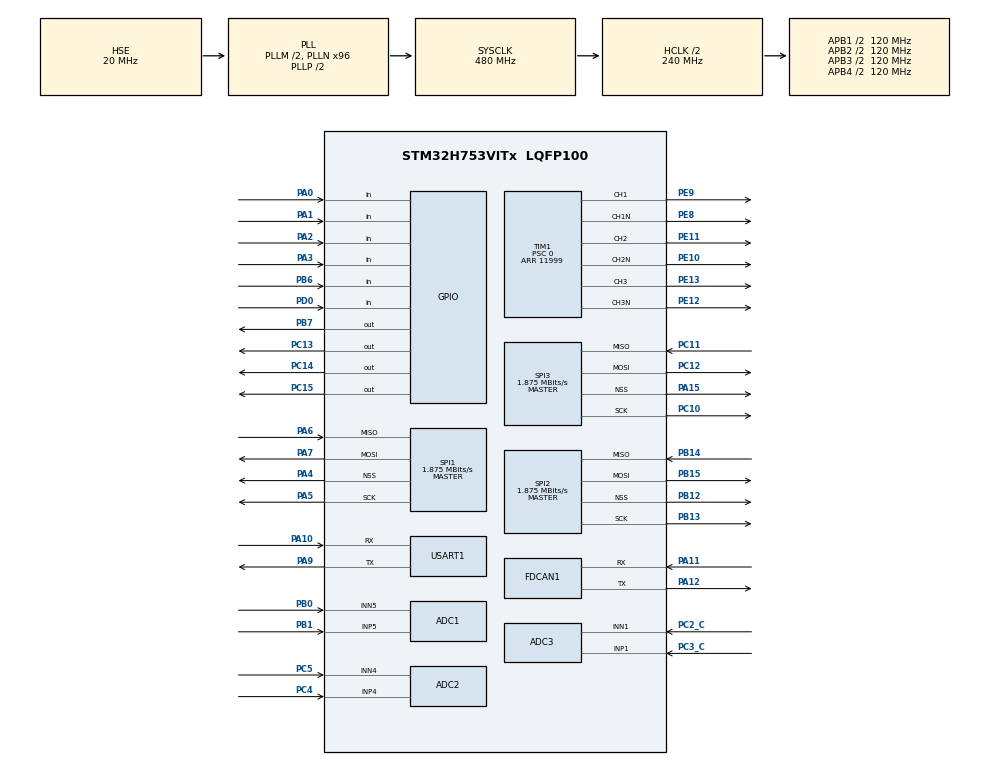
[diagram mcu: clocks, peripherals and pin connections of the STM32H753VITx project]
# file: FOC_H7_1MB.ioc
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ADC1.Channel-6\#ChannelRegularConversion=ADC_CHANNEL_5
ADC1.NbrOfConversionFlag=1
ADC1.OffsetNumber-6\#ChannelRegularConversion=ADC_OFFSET_NONE
ADC1.Rank-6\#ChannelRegularConversion=1
ADC1.SamplingTime-6\#ChannelRegularConversion=ADC_SAMPLETIME_2CYCLES_5
ADC1.SingleDiff-6\#ChannelRegularConversion=ADC_DIFFERENTIAL_ENDED
ADC1.master=1
ADC2.Channel-0\#ChannelRegularConversion=ADC_CHANNEL_4
ADC2.NbrOfConversionFlag=1
ADC2.OffsetNumber-0\#ChannelRegularConversion=ADC_OFFSET_NONE
ADC2.Rank-0\#ChannelRegularConversion=1
ADC2.SamplingTime-0\#ChannelRegularConversion=ADC_SAMPLETIME_1CYCLE_5
ADC2.SingleDiff-0\#ChannelRegularConversion=ADC_DIFFERENTIAL_ENDED
ADC3.Channel-2\#ChannelRegularConversion=ADC_CHANNEL_1
ADC3.NbrOfConversionFlag=1
ADC3.OffsetNumber-2\#ChannelRegularConversion=ADC_OFFSET_NONE
ADC3.Rank-2\#ChannelRegularConversion=1
ADC3.SamplingTime-2\#ChannelRegularConversion=ADC_SAMPLETIME_2CYCLES_5
ADC3.SingleDiff-2\#ChannelRegularConversion=ADC_DIFFERENTIAL_ENDED
Mcu.Family=STM32H7
Mcu.Name=STM32H753VITx
Mcu.Package=LQFP100
NVIC.PriorityGroup=NVIC_PRIORITYGROUP_4
NVIC.SPI1_IRQn=true\:0\:0\:false\:false\:true\:true\:true
NVIC.SPI2_IRQn=true\:0\:0\:false\:false\:true\:true\:true
NVIC.SPI3_IRQn=true\:0\:0\:false\:false\:true\:true\:true
NVIC.TIM2_IRQn=true\:0\:0\:false\:false\:true\:true\:true
NVIC.TIM3_IRQn=true\:0\:0\:false\:false\:true\:true\:true
PA0.Signal=GPIO_Input
PA1.Signal=GPIO_Input
PA10.Mode=Asynchronous
PA10.Signal=USART1_RX
PA11.Mode=FDCANMaster
PA11.Signal=FDCAN1_RX
PA12.Mode=FDCANMaster
PA12.Signal=FDCAN1_TX
PA13\ (JTMS/SWDIO).Mode=Serial_Wire
PA13\ (JTMS/SWDIO).Signal=DEBUG_JTMS-SWDIO
PA14\ (JTCK/SWCLK).Mode=Serial_Wire
PA14\ (JTCK/SWCLK).Signal=DEBUG_JTCK-SWCLK
PA15\ (JTDI).Mode=NSS_Signal_Hard_Output
PA15\ (JTDI).Signal=SPI3_NSS
PA2.Signal=GPIO_Input
PA3.Signal=GPIO_Input
PA4.Mode=NSS_Signal_Hard_Output
PA4.Signal=SPI1_NSS
PA5.Mode=Full_Duplex_Master
PA5.Signal=SPI1_SCK
PA6.Mode=Full_Duplex_Master
PA6.Signal=SPI1_MISO
PA7.Mode=Full_Duplex_Master
PA7.Signal=SPI1_MOSI
PA9.Mode=Asynchronous
PA9.Signal=USART1_TX
PB0.Signal=ADCx_INN5
PB1.Signal=ADCx_INP5
PB12.Mode=NSS_Signal_Hard_Output
PB12.Signal=SPI2_NSS
PB13.Mode=Full_Duplex_Master
PB13.Signal=SPI2_SCK
PB14.GPIO_PuPd=GPIO_PULLUP
PB14.Mode=Full_Duplex_Master
PB14.Signal=SPI2_MISO
PB15.Mode=Full_Duplex_Master
PB15.Signal=SPI2_MOSI
PB6.GPIO_PuPd=GPIO_PULLUP
PB6.Signal=GPIO_Input
PB7.Signal=GPIO_Output
PC10.Mode=Full_Duplex_Master
PC10.Signal=SPI3_SCK
PC11.Mode=Full_Duplex_Master
PC11.Signal=SPI3_MISO
PC12.Mode=Full_Duplex_Master
PC12.Signal=SPI3_MOSI
PC13.Signal=GPIO_Output
PC14-OSC32_IN\ (OSC32_IN).Signal=GPIO_Output
PC15-OSC32_OUT\ (OSC32_OUT).Signal=GPIO_Output
PC2_C.Mode=IN1-Differential
PC2_C.Signal=ADC3_INN1
PC3_C.Mode=IN1-Differential
PC3_C.Signal=ADC3_INP1
PC4.Signal=ADCx_INP4
PC5.Signal=ADCx_INN4
PD0.Signal=GPIO_Input
PE10.Mode=PWM Generation2 CH2 CH2N
PE10.Signal=TIM1_CH2N
PE11.Signal=S_TIM1_CH2
PE12.Mode=PWM Generation3 CH3 CH3N
PE12.Signal=TIM1_CH3N
PE13.Signal=S_TIM1_CH3
PE8.Mode=PWM Generation1 CH1 CH1N
PE8.Signal=TIM1_CH1N
PE9.Signal=S_TIM1_CH1
PH0-OSC_IN\ (PH0).Mode=HSE-External-Oscillator
PH0-OSC_IN\ (PH0).Signal=RCC_OSC_IN
PH1-OSC_OUT\ (PH1).Mode=HSE-External-Oscillator
PH1-OSC_OUT\ (PH1).Signal=RCC_OSC_OUT
ProjectManager.HeapSize=0x200
ProjectManager.StackSize=0x400
ProjectManager.TargetToolchain=STM32CubeIDE
RCC.ADCFreq_Value=150000000
RCC.APB1Freq_Value=120000000
RCC.APB2Freq_Value=120000000
RCC.APB3Freq_Value=120000000
RCC.APB4Freq_Value=120000000
RCC.CortexFreq_Value=480000000
RCC.D1PPRE=RCC_APB3_DIV2
RCC.D2PPRE1=RCC_APB1_DIV2
RCC.D2PPRE2=RCC_APB2_DIV2
RCC.D3PPRE=RCC_APB4_DIV2
RCC.DIVM1=2
RCC.DIVM2=2
RCC.DIVN1=96
RCC.DIVN2=15
RCC.DIVP2=1
RCC.FLatency=FLASH_LATENCY_4
RCC.HCLKFreq_Value=240000000
RCC.HPRE=RCC_HCLK_DIV2
RCC.HSE_VALUE=20000000
RCC.PLL2FRACN=0
RCC.PLL2_VCO_SEL-AdvancedSettings=RCC_PLL2VCOMEDIUM
RCC.PLL3FRACN=0
RCC.PLLFRACN=0
RCC.PLLSourceVirtual=RCC_PLLSOURCE_HSE
RCC.PWR_Regulator_Voltage_Scale=PWR_REGULATOR_VOLTAGE_SCALE0
RCC.SYSCLKFreq_VALUE=480000000
RCC.SYSCLKSource=RCC_SYSCLKSOURCE_PLLCLK
RCC.USBFreq_Value=480000000
SH.ADCx_INN4.0=ADC2_INN4,IN4-Differential
SH.ADCx_INN5.0=ADC1_INN5,IN5-Differential
SH.ADCx_INP4.0=ADC2_INP4,IN4-Differential
SH.ADCx_INP5.0=ADC1_INP5,IN5-Differential
SH.S_TIM1_CH1.0=TIM1_CH1,PWM Generation1 CH1 CH1N
SH.S_TIM1_CH2.0=TIM1_CH2,PWM Generation2 CH2 CH2N
SH.S_TIM1_CH3.0=TIM1_CH3,PWM Generation3 CH3 CH3N
SPI1.BaudRatePrescaler=SPI_BAUDRATEPRESCALER_256
SPI1.CLKPhase=SPI_PHASE_1EDGE
SPI1.CalculateBaudRate=1.875 MBits/s
SPI1.DataSize=SPI_DATASIZE_16BIT
SPI1.Direction=SPI_DIRECTION_2LINES
SPI1.Mode=SPI_MODE_MASTER
SPI1.NSSPMode=SPI_NSS_PULSE_DISABLE
SPI1.VirtualNSS=VM_NSSHARD
SPI1.VirtualType=VM_MASTER
SPI2.BaudRatePrescaler=SPI_BAUDRATEPRESCALER_256
SPI2.CLKPhase=SPI_PHASE_2EDGE
SPI2.CalculateBaudRate=1.875 MBits/s
SPI2.DataSize=SPI_DATASIZE_16BIT
SPI2.Direction=SPI_DIRECTION_2LINES
SPI2.MasterKeepIOState=SPI_MASTER_KEEP_IO_STATE_DISABLE
SPI2.Mode=SPI_MODE_MASTER
SPI2.NSSPMode=SPI_NSS_PULSE_DISABLE
SPI2.NSSPolarity=SPI_NSS_POLARITY_LOW
SPI2.VirtualNSS=VM_NSSHARD
SPI2.VirtualType=VM_MASTER
SPI3.BaudRatePrescaler=SPI_BAUDRATEPRESCALER_256
SPI3.CLKPhase=SPI_PHASE_1EDGE
SPI3.CalculateBaudRate=1.875 MBits/s
SPI3.DataSize=SPI_DATASIZE_16BIT
SPI3.Direction=SPI_DIRECTION_2LINES
SPI3.MasterKeepIOState=SPI_MASTER_KEEP_IO_STATE_DISABLE
SPI3.Mode=SPI_MODE_MASTER
SPI3.NSSPMode=SPI_NSS_PULSE_DISABLE
SPI3.VirtualNSS=VM_NSSHARD
SPI3.VirtualType=VM_MASTER
TIM1.Channel-PWM\ Generation1\ CH1\ CH1N=TIM_CHANNEL_1
TIM1.Channel-PWM\ Generation2\ CH2\ CH2N=TIM_CHANNEL_2
TIM1.Channel-PWM\ Generation3\ CH3\ CH3N=TIM_CHANNEL_3
TIM1.DeadTime=80
TIM1.Period=11999
TIM1.Prescaler=0
TIM2.Period=500000
TIM2.Prescaler=240
TIM3.Period=11999
USART1.VirtualMode-Asynchronous=VM_ASYNC
VP_TIM1_VS_ClockSourceINT.Mode=Internal
VP_TIM2_VS_ClockSourceINT.Mode=Internal
VP_TIM3_VS_ClockSourceINT.Mode=Internal
board=custom

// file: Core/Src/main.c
/* USER CODE BEGIN Header */
/**
 ******************************************************************************
 * @file           : main.c
 * @brief          : Main program body
 ******************************************************************************
 * @attention
 *
 * <h2><center>&copy; Copyright (c) 2020 STMicroelectronics.
 * All rights reserved.</center></h2>
 *
 * This software component is licensed by ST under BSD 3-Clause license,
 * the "License"; You may not use this file except in compliance with the
 * License. You may obtain a copy of the License at:
 *                        opensource.org/licenses/BSD-3-Clause
 *
 ******************************************************************************
 */
/* USER CODE END Header */

#include "main.h"

/* USER CODE BEGIN Includes */
#include <stdlib.h>
#include "FOC.h"
#include "PI_Loop.h"
/* USER CODE END Includes */

/* USER CODE BEGIN PM */
int set_pmw(int a, int b, int c);
int mech_to_electric_angle(int mechangle);
/* USER CODE END PM */

ADC_HandleTypeDef hadc1;
ADC_HandleTypeDef hadc2;
ADC_HandleTypeDef hadc3;

FDCAN_HandleTypeDef hfdcan1;

SPI_HandleTypeDef hspi1;
SPI_HandleTypeDef hspi2;
SPI_HandleTypeDef hspi3;

TIM_HandleTypeDef htim1;
TIM_HandleTypeDef htim2;
TIM_HandleTypeDef htim3;

UART_HandleTypeDef huart1;

/* USER CODE BEGIN PV */
#define RMP_SCALAR 166.666
#define RAW_TO_VOLTAGE_SCALAR 0.000375
#define VOLTAGE_READING_OFFSET 12.288
#define VOLTAGE_TO_CURRENT 75.7575*1000 //in milliamps
#define CURRENT_READING_VOLTAGE_OFFSET 1.635 //theory 1.6415
volatile int position = 0;
volatile int wait = 0;
/* USER CODE END PV */

void SystemClock_Config(void);
static void MX_GPIO_Init(void);
static void MX_ADC1_Init(void);
static void MX_ADC2_Init(void);
static void MX_ADC3_Init(void);
static void MX_FDCAN1_Init(void);
static void MX_SPI1_Init(void);
static void MX_SPI2_Init(void);
static void MX_SPI3_Init(void);
static void MX_TIM1_Init(void);
static void MX_TIM2_Init(void);
static void MX_USART1_UART_Init(void);
static void MX_TIM3_Init(void);

int main(void)
{

  /* MCU Configuration--------------------------------------------------------*/

  /* Reset of all peripherals, Initializes the Flash interface and the Systick. */
  HAL_Init();

  /* USER CODE BEGIN Init */
	int request_pos = 0xffff;
	float data2angle = 360.0 / 1024;
	float angle = 0;
	int currentA;
	int currentC;
	int currentB;
	float Id;
	float Iq;
	float target_Iq = 15;
	float target_Id = 0;
	int Vd;
	int Vq;
	int foc_angle;
	int uart_counter = 0;
	int Va, Vb, Vc;
	int deciangle = 0;
	float last_angle = 0;
	float running_angle_total = 0;
	float change_in_angle = 0;
	float curr_speed = 0;
	float target_speed = 100;
	uint32_t last_speed_cal_time = 0;
	int speed_counter = 0;
	int nop = 0;
	float change_in_angle_list[500]={0};
	uint16_t raw_curr_data_a=0;
	uint16_t raw_curr_data_c=0;
  /* USER CODE END Init */

  /* Configure the system clock */
  SystemClock_Config();

  /* Initialize all configured peripherals */
  MX_GPIO_Init();
  MX_ADC1_Init();
  MX_ADC2_Init();
  MX_ADC3_Init();
  MX_FDCAN1_Init();
  MX_SPI1_Init();
  MX_SPI2_Init();
  MX_SPI3_Init();
  MX_TIM1_Init();
  MX_TIM2_Init();
  MX_USART1_UART_Init();
  MX_TIM3_Init();
  /* USER CODE BEGIN 2 */
	HAL_TIM_PWM_Start(&htim1, TIM_CHANNEL_1);
	HAL_TIMEx_PWMN_Start(&htim1, TIM_CHANNEL_1);
	HAL_TIM_PWM_Start(&htim1, TIM_CHANNEL_2);
	HAL_TIMEx_PWMN_Start(&htim1, TIM_CHANNEL_2);
	HAL_TIM_PWM_Start(&htim1, TIM_CHANNEL_3);
	HAL_TIMEx_PWMN_Start(&htim1, TIM_CHANNEL_3);
	HAL_ADC_Start(&hadc1);
	HAL_ADC_Start(&hadc2);
	HAL_TIM_Base_Start_IT(&htim2);
	HAL_TIM_Base_Start_IT(&htim3);
	//prime sensors
	HAL_Delay(100);
	for(int primer_counter=0;primer_counter<5;primer_counter++){
	HAL_SPI_TransmitReceive_IT(&hspi2, (uint8_t*) &request_pos,&position, 1);
			HAL_SPI_TransmitReceive_IT(&hspi1, (uint8_t*) &nop,
					(uint8_t*) &raw_curr_data_a, 1);
			HAL_SPI_TransmitReceive_IT(&hspi3, (uint8_t*) &nop,
					(uint8_t*) &raw_curr_data_c, 1);
	}
	HAL_Delay(100);
  /* USER CODE END 2 */

  /* Infinite loop */
  /* USER CODE BEGIN WHILE */
	while (1) {
		//find angle
		while (wait) {
			//wait for next pwm cycle to start
		}
		wait = 1;
		position = position >> 2;
		position = position & 0x3ff;
		angle = (position * data2angle);
		deciangle = angle * 10;
		//find currents, this section could be optimized more but it will remove readability
		float voltage_a = RAW_TO_VOLTAGE_SCALAR * raw_curr_data_a-VOLTAGE_READING_OFFSET;
		float voltage_c = RAW_TO_VOLTAGE_SCALAR	* raw_curr_data_c-VOLTAGE_READING_OFFSET;
		currentA = (voltage_a - CURRENT_READING_VOLTAGE_OFFSET)
				* VOLTAGE_TO_CURRENT;
		currentC = (voltage_c - CURRENT_READING_VOLTAGE_OFFSET)
				* VOLTAGE_TO_CURRENT;
		currentC=-currentC;//phase C current sense is backwards for layout purposes
		currentB = 0 - currentA - currentC;
		//request data for next loop
		HAL_SPI_TransmitReceive_IT(&hspi2, (uint8_t*) &request_pos,&position, 1);
		HAL_SPI_TransmitReceive_IT(&hspi1, (uint8_t*) &nop,
				(uint8_t*) &raw_curr_data_a, 1);
		HAL_SPI_TransmitReceive_IT(&hspi3, (uint8_t*) &nop,
				(uint8_t*) &raw_curr_data_c, 1);
		//transform encoder angle to eletrical angle
		foc_angle = mech_to_electric_angle((int)angle);
		//Cal speed with 500 wide boxcar avg
		change_in_angle = angle - last_angle;
		if (change_in_angle < -180) {
			change_in_angle = -360 - change_in_angle;
		}
		if (change_in_angle > 180) {
			change_in_angle = 360.0 - change_in_angle;
		}
		running_angle_total = running_angle_total + change_in_angle-change_in_angle_list[speed_counter];
		curr_speed = running_angle_total * RMP_SCALAR *0.025;
		change_in_angle_list[speed_counter]=change_in_angle;
		last_angle = angle;
		uart_counter++;
		speed_counter++;
		if (speed_counter > 500) {//running average of 500 samples
			speed_counter = 0;
		}
		//FOC and PI loop update
		parkclark(currentA, currentB, currentC, foc_angle, &Iq, &Id);
		update_speed_pi(&target_speed, &curr_speed, &target_Iq);
		update_foc_pi(&target_Iq, &target_Id, &Iq, &Id, &Vq, &Vd);
		if (uart_counter > 200000) {
			uart_counter = 0;
		}
		//Cal PWMs
		inv_parkclark(&Va, &Vb, &Vc, foc_angle, Vq, Vd);
		if (Va <= Vb && Va <= Vc) {
			Vb = Vb - Va;
			Vc = Vc - Va;
			Va = 0;
		} else if (Vb <= Va && Vb <= Vc) {
			Va = Va - Vb;
			Vc = Vc - Vb;
			Vb = 0;
		} else if (Vc <= Vb && Vc <= Va) {
			Va = Va - Vc;
			Vb = Vb - Vc;
			Vc = 0;
		}
		//Impose PWMs
		set_pmw(Va, Vb, Vc);
    /* USER CODE END WHILE */

	}
}

void SystemClock_Config(void)
{
  RCC_OscInitTypeDef RCC_OscInitStruct = {0};
  RCC_ClkInitTypeDef RCC_ClkInitStruct = {0};
  RCC_PeriphCLKInitTypeDef PeriphClkInitStruct = {0};

  /** Supply configuration update enable
  */
  HAL_PWREx_ConfigSupply(PWR_LDO_SUPPLY);
  /** Configure the main internal regulator output voltage
  */
  __HAL_PWR_VOLTAGESCALING_CONFIG(PWR_REGULATOR_VOLTAGE_SCALE0);

  while(!__HAL_PWR_GET_FLAG(PWR_FLAG_VOSRDY)) {}
  /** Macro to configure the PLL clock source
  */
  __HAL_RCC_PLL_PLLSOURCE_CONFIG(RCC_PLLSOURCE_HSE);
  /** Initializes the CPU, AHB and APB busses clocks
  */
  RCC_OscInitStruct.OscillatorType = RCC_OSCILLATORTYPE_HSE;
  RCC_OscInitStruct.HSEState = RCC_HSE_ON;
  RCC_OscInitStruct.PLL.PLLState = RCC_PLL_ON;
  RCC_OscInitStruct.PLL.PLLSource = RCC_PLLSOURCE_HSE;
  RCC_OscInitStruct.PLL.PLLM = 2;
  RCC_OscInitStruct.PLL.PLLN = 96;
  RCC_OscInitStruct.PLL.PLLP = 2;
  RCC_OscInitStruct.PLL.PLLQ = 2;
  RCC_OscInitStruct.PLL.PLLR = 2;
  RCC_OscInitStruct.PLL.PLLRGE = RCC_PLL1VCIRANGE_3;
  RCC_OscInitStruct.PLL.PLLVCOSEL = RCC_PLL1VCOWIDE;
  RCC_OscInitStruct.PLL.PLLFRACN = 0;
  if (HAL_RCC_OscConfig(&RCC_OscInitStruct) != HAL_OK)
  {
    Error_Handler();
  }
  /** Initializes the CPU, AHB and APB busses clocks
  */
  RCC_ClkInitStruct.ClockType = RCC_CLOCKTYPE_HCLK|RCC_CLOCKTYPE_SYSCLK
                              |RCC_CLOCKTYPE_PCLK1|RCC_CLOCKTYPE_PCLK2
                              |RCC_CLOCKTYPE_D3PCLK1|RCC_CLOCKTYPE_D1PCLK1;
  RCC_ClkInitStruct.SYSCLKSource = RCC_SYSCLKSOURCE_PLLCLK;
  RCC_ClkInitStruct.SYSCLKDivider = RCC_SYSCLK_DIV1;
  RCC_ClkInitStruct.AHBCLKDivider = RCC_HCLK_DIV2;
  RCC_ClkInitStruct.APB3CLKDivider = RCC_APB3_DIV2;
  RCC_ClkInitStruct.APB1CLKDivider = RCC_APB1_DIV2;
  RCC_ClkInitStruct.APB2CLKDivider = RCC_APB2_DIV2;
  RCC_ClkInitStruct.APB4CLKDivider = RCC_APB4_DIV2;

  if (HAL_RCC_ClockConfig(&RCC_ClkInitStruct, FLASH_LATENCY_4) != HAL_OK)
  {
    Error_Handler();
  }
  PeriphClkInitStruct.PeriphClockSelection = RCC_PERIPHCLK_FDCAN|RCC_PERIPHCLK_USART1
                              |RCC_PERIPHCLK_SPI3|RCC_PERIPHCLK_SPI1
                              |RCC_PERIPHCLK_SPI2|RCC_PERIPHCLK_ADC;
  PeriphClkInitStruct.PLL2.PLL2M = 2;
  PeriphClkInitStruct.PLL2.PLL2N = 15;
  PeriphClkInitStruct.PLL2.PLL2P = 1;
  PeriphClkInitStruct.PLL2.PLL2Q = 2;
  PeriphClkInitStruct.PLL2.PLL2R = 2;
  PeriphClkInitStruct.PLL2.PLL2RGE = RCC_PLL2VCIRANGE_3;
  PeriphClkInitStruct.PLL2.PLL2VCOSEL = RCC_PLL2VCOMEDIUM;
  PeriphClkInitStruct.PLL2.PLL2FRACN = 0;
  PeriphClkInitStruct.Spi123ClockSelection = RCC_SPI123CLKSOURCE_PLL;
  PeriphClkInitStruct.FdcanClockSelection = RCC_FDCANCLKSOURCE_PLL;
  PeriphClkInitStruct.Usart16ClockSelection = RCC_USART16CLKSOURCE_D2PCLK2;
  PeriphClkInitStruct.AdcClockSelection = RCC_ADCCLKSOURCE_PLL2;
  if (HAL_RCCEx_PeriphCLKConfig(&PeriphClkInitStruct) != HAL_OK)
  {
    Error_Handler();
  }
}

static void MX_ADC1_Init(void)
{

  ADC_MultiModeTypeDef multimode = {0};
  ADC_ChannelConfTypeDef sConfig = {0};

  /** Common config
  */
  hadc1.Instance = ADC1;
  hadc1.Init.ClockPrescaler = ADC_CLOCK_ASYNC_DIV1;
  hadc1.Init.Resolution = ADC_RESOLUTION_16B;
  hadc1.Init.ScanConvMode = ADC_SCAN_DISABLE;
  hadc1.Init.EOCSelection = ADC_EOC_SINGLE_CONV;
  hadc1.Init.LowPowerAutoWait = DISABLE;
  hadc1.Init.ContinuousConvMode = DISABLE;
  hadc1.Init.NbrOfConversion = 1;
  hadc1.Init.DiscontinuousConvMode = DISABLE;
  hadc1.Init.ExternalTrigConv = ADC_SOFTWARE_START;
  hadc1.Init.ExternalTrigConvEdge = ADC_EXTERNALTRIGCONVEDGE_NONE;
  hadc1.Init.ConversionDataManagement = ADC_CONVERSIONDATA_DR;
  hadc1.Init.Overrun = ADC_OVR_DATA_PRESERVED;
  hadc1.Init.LeftBitShift = ADC_LEFTBITSHIFT_NONE;
  hadc1.Init.OversamplingMode = DISABLE;
  if (HAL_ADC_Init(&hadc1) != HAL_OK)
  {
    Error_Handler();
  }
  /** Configure the ADC multi-mode
  */
  multimode.Mode = ADC_MODE_INDEPENDENT;
  if (HAL_ADCEx_MultiModeConfigChannel(&hadc1, &multimode) != HAL_OK)
  {
    Error_Handler();
  }
  /** Configure Regular Channel
  */
  sConfig.Channel = ADC_CHANNEL_5;
  sConfig.Rank = ADC_REGULAR_RANK_1;
  sConfig.SamplingTime = ADC_SAMPLETIME_2CYCLES_5;
  sConfig.SingleDiff = ADC_DIFFERENTIAL_ENDED;
  sConfig.OffsetNumber = ADC_OFFSET_NONE;
  sConfig.Offset = 0;
  if (HAL_ADC_ConfigChannel(&hadc1, &sConfig) != HAL_OK)
  {
    Error_Handler();
  }

}

static void MX_ADC2_Init(void)
{

  ADC_ChannelConfTypeDef sConfig = {0};

  /** Common config
  */
  hadc2.Instance = ADC2;
  hadc2.Init.ClockPrescaler = ADC_CLOCK_ASYNC_DIV1;
  hadc2.Init.Resolution = ADC_RESOLUTION_16B;
  hadc2.Init.ScanConvMode = ADC_SCAN_DISABLE;
  hadc2.Init.EOCSelection = ADC_EOC_SINGLE_CONV;
  hadc2.Init.LowPowerAutoWait = DISABLE;
  hadc2.Init.ContinuousConvMode = DISABLE;
  hadc2.Init.NbrOfConversion = 1;
  hadc2.Init.DiscontinuousConvMode = DISABLE;
  hadc2.Init.ExternalTrigConv = ADC_SOFTWARE_START;
  hadc2.Init.ExternalTrigConvEdge = ADC_EXTERNALTRIGCONVEDGE_NONE;
  hadc2.Init.ConversionDataManagement = ADC_CONVERSIONDATA_DR;
  hadc2.Init.Overrun = ADC_OVR_DATA_PRESERVED;
  hadc2.Init.LeftBitShift = ADC_LEFTBITSHIFT_NONE;
  hadc2.Init.OversamplingMode = DISABLE;
  if (HAL_ADC_Init(&hadc2) != HAL_OK)
  {
    Error_Handler();
  }
  /** Configure Regular Channel
  */
  sConfig.Channel = ADC_CHANNEL_4;
  sConfig.Rank = ADC_REGULAR_RANK_1;
  sConfig.SamplingTime = ADC_SAMPLETIME_1CYCLE_5;
  sConfig.SingleDiff = ADC_DIFFERENTIAL_ENDED;
  sConfig.OffsetNumber = ADC_OFFSET_NONE;
  sConfig.Offset = 0;
  if (HAL_ADC_ConfigChannel(&hadc2, &sConfig) != HAL_OK)
  {
    Error_Handler();
  }

}

static void MX_ADC3_Init(void)
{

  ADC_ChannelConfTypeDef sConfig = {0};

  /** Common config
  */
  hadc3.Instance = ADC3;
  hadc3.Init.ClockPrescaler = ADC_CLOCK_ASYNC_DIV1;
  hadc3.Init.Resolution = ADC_RESOLUTION_16B;
  hadc3.Init.ScanConvMode = ADC_SCAN_DISABLE;
  hadc3.Init.EOCSelection = ADC_EOC_SINGLE_CONV;
  hadc3.Init.LowPowerAutoWait = DISABLE;
  hadc3.Init.ContinuousConvMode = DISABLE;
  hadc3.Init.NbrOfConversion = 1;
  hadc3.Init.DiscontinuousConvMode = DISABLE;
  hadc3.Init.ExternalTrigConv = ADC_SOFTWARE_START;
  hadc3.Init.ExternalTrigConvEdge = ADC_EXTERNALTRIGCONVEDGE_NONE;
  hadc3.Init.ConversionDataManagement = ADC_CONVERSIONDATA_DR;
  hadc3.Init.Overrun = ADC_OVR_DATA_PRESERVED;
  hadc3.Init.LeftBitShift = ADC_LEFTBITSHIFT_NONE;
  hadc3.Init.OversamplingMode = DISABLE;
  if (HAL_ADC_Init(&hadc3) != HAL_OK)
  {
    Error_Handler();
  }
  /** Configure Regular Channel
  */
  sConfig.Channel = ADC_CHANNEL_1;
  sConfig.Rank = ADC_REGULAR_RANK_1;
  sConfig.SamplingTime = ADC_SAMPLETIME_2CYCLES_5;
  sConfig.SingleDiff = ADC_DIFFERENTIAL_ENDED;
  sConfig.OffsetNumber = ADC_OFFSET_NONE;
  sConfig.Offset = 0;
  if (HAL_ADC_ConfigChannel(&hadc3, &sConfig) != HAL_OK)
  {
    Error_Handler();
  }

}

static void MX_FDCAN1_Init(void)
{

  hfdcan1.Instance = FDCAN1;
  hfdcan1.Init.FrameFormat = FDCAN_FRAME_CLASSIC;
  hfdcan1.Init.Mode = FDCAN_MODE_NORMAL;
  hfdcan1.Init.AutoRetransmission = DISABLE;
  hfdcan1.Init.TransmitPause = DISABLE;
  hfdcan1.Init.ProtocolException = DISABLE;
  hfdcan1.Init.NominalPrescaler = 1;
  hfdcan1.Init.NominalSyncJumpWidth = 1;
  hfdcan1.Init.NominalTimeSeg1 = 2;
  hfdcan1.Init.NominalTimeSeg2 = 2;
  hfdcan1.Init.DataPrescaler = 1;
  hfdcan1.Init.DataSyncJumpWidth = 1;
  hfdcan1.Init.DataTimeSeg1 = 1;
  hfdcan1.Init.DataTimeSeg2 = 1;
  hfdcan1.Init.MessageRAMOffset = 0;
  hfdcan1.Init.StdFiltersNbr = 0;
  hfdcan1.Init.ExtFiltersNbr = 0;
  hfdcan1.Init.RxFifo0ElmtsNbr = 0;
  hfdcan1.Init.RxFifo0ElmtSize = FDCAN_DATA_BYTES_8;
  hfdcan1.Init.RxFifo1ElmtsNbr = 0;
  hfdcan1.Init.RxFifo1ElmtSize = FDCAN_DATA_BYTES_8;
  hfdcan1.Init.RxBuffersNbr = 0;
  hfdcan1.Init.RxBufferSize = FDCAN_DATA_BYTES_8;
  hfdcan1.Init.TxEventsNbr = 0;
  hfdcan1.Init.TxBuffersNbr = 0;
  hfdcan1.Init.TxFifoQueueElmtsNbr = 0;
  hfdcan1.Init.TxFifoQueueMode = FDCAN_TX_FIFO_OPERATION;
  hfdcan1.Init.TxElmtSize = FDCAN_DATA_BYTES_8;
  if (HAL_FDCAN_Init(&hfdcan1) != HAL_OK)
  {
    Error_Handler();
  }

}

static void MX_SPI1_Init(void)
{

  /* SPI1 parameter configuration*/
  hspi1.Instance = SPI1;
  hspi1.Init.Mode = SPI_MODE_MASTER;
  hspi1.Init.Direction = SPI_DIRECTION_2LINES;
  hspi1.Init.DataSize = SPI_DATASIZE_16BIT;
  hspi1.Init.CLKPolarity = SPI_POLARITY_LOW;
  hspi1.Init.CLKPhase = SPI_PHASE_1EDGE;
  hspi1.Init.NSS = SPI_NSS_HARD_OUTPUT;
  hspi1.Init.BaudRatePrescaler = SPI_BAUDRATEPRESCALER_256;
  hspi1.Init.FirstBit = SPI_FIRSTBIT_MSB;
  hspi1.Init.TIMode = SPI_TIMODE_DISABLE;
  hspi1.Init.CRCCalculation = SPI_CRCCALCULATION_DISABLE;
  hspi1.Init.CRCPolynomial = 0x0;
  hspi1.Init.NSSPMode = SPI_NSS_PULSE_DISABLE;
  hspi1.Init.NSSPolarity = SPI_NSS_POLARITY_LOW;
  hspi1.Init.FifoThreshold = SPI_FIFO_THRESHOLD_01DATA;
  hspi1.Init.TxCRCInitializationPattern = SPI_CRC_INITIALIZATION_ALL_ZERO_PATTERN;
  hspi1.Init.RxCRCInitializationPattern = SPI_CRC_INITIALIZATION_ALL_ZERO_PATTERN;
  hspi1.Init.MasterSSIdleness = SPI_MASTER_SS_IDLENESS_00CYCLE;
  hspi1.Init.MasterInterDataIdleness = SPI_MASTER_INTERDATA_IDLENESS_00CYCLE;
  hspi1.Init.MasterReceiverAutoSusp = SPI_MASTER_RX_AUTOSUSP_DISABLE;
  hspi1.Init.MasterKeepIOState = SPI_MASTER_KEEP_IO_STATE_DISABLE;
  hspi1.Init.IOSwap = SPI_IO_SWAP_DISABLE;
  if (HAL_SPI_Init(&hspi1) != HAL_OK)
  {
    Error_Handler();
  }

}

static void MX_SPI2_Init(void)
{

  /* SPI2 parameter configuration*/
  hspi2.Instance = SPI2;
  hspi2.Init.Mode = SPI_MODE_MASTER;
  hspi2.Init.Direction = SPI_DIRECTION_2LINES;
  hspi2.Init.DataSize = SPI_DATASIZE_16BIT;
  hspi2.Init.CLKPolarity = SPI_POLARITY_LOW;
  hspi2.Init.CLKPhase = SPI_PHASE_2EDGE;
  hspi2.Init.NSS = SPI_NSS_HARD_OUTPUT;
  hspi2.Init.BaudRatePrescaler = SPI_BAUDRATEPRESCALER_256;
  hspi2.Init.FirstBit = SPI_FIRSTBIT_MSB;
  hspi2.Init.TIMode = SPI_TIMODE_DISABLE;
  hspi2.Init.CRCCalculation = SPI_CRCCALCULATION_DISABLE;
  hspi2.Init.CRCPolynomial = 0x0;
  hspi2.Init.NSSPMode = SPI_NSS_PULSE_DISABLE;
  hspi2.Init.NSSPolarity = SPI_NSS_POLARITY_LOW;
  hspi2.Init.FifoThreshold = SPI_FIFO_THRESHOLD_01DATA;
  hspi2.Init.TxCRCInitializationPattern = SPI_CRC_INITIALIZATION_ALL_ZERO_PATTERN;
  hspi2.Init.RxCRCInitializationPattern = SPI_CRC_INITIALIZATION_ALL_ZERO_PATTERN;
  hspi2.Init.MasterSSIdleness = SPI_MASTER_SS_IDLENESS_00CYCLE;
  hspi2.Init.MasterInterDataIdleness = SPI_MASTER_INTERDATA_IDLENESS_00CYCLE;
  hspi2.Init.MasterReceiverAutoSusp = SPI_MASTER_RX_AUTOSUSP_DISABLE;
  hspi2.Init.MasterKeepIOState = SPI_MASTER_KEEP_IO_STATE_DISABLE;
  hspi2.Init.IOSwap = SPI_IO_SWAP_DISABLE;
  if (HAL_SPI_Init(&hspi2) != HAL_OK)
  {
    Error_Handler();
  }

}

static void MX_SPI3_Init(void)
{

  /* SPI3 parameter configuration*/
  hspi3.Instance = SPI3;
  hspi3.Init.Mode = SPI_MODE_MASTER;
  hspi3.Init.Direction = SPI_DIRECTION_2LINES;
  hspi3.Init.DataSize = SPI_DATASIZE_16BIT;
  hspi3.Init.CLKPolarity = SPI_POLARITY_LOW;
  hspi3.Init.CLKPhase = SPI_PHASE_1EDGE;
  hspi3.Init.NSS = SPI_NSS_HARD_OUTPUT;
  hspi3.Init.BaudRatePrescaler = SPI_BAUDRATEPRESCALER_256;
  hspi3.Init.FirstBit = SPI_FIRSTBIT_MSB;
  hspi3.Init.TIMode = SPI_TIMODE_DISABLE;
  hspi3.Init.CRCCalculation = SPI_CRCCALCULATION_DISABLE;
  hspi3.Init.CRCPolynomial = 0x0;
  hspi3.Init.NSSPMode = SPI_NSS_PULSE_DISABLE;
  hspi3.Init.NSSPolarity = SPI_NSS_POLARITY_LOW;
  hspi3.Init.FifoThreshold = SPI_FIFO_THRESHOLD_01DATA;
  hspi3.Init.TxCRCInitializationPattern = SPI_CRC_INITIALIZATION_ALL_ZERO_PATTERN;
  hspi3.Init.RxCRCInitializationPattern = SPI_CRC_INITIALIZATION_ALL_ZERO_PATTERN;
  hspi3.Init.MasterSSIdleness = SPI_MASTER_SS_IDLENESS_00CYCLE;
  hspi3.Init.MasterInterDataIdleness = SPI_MASTER_INTERDATA_IDLENESS_00CYCLE;
  hspi3.Init.MasterReceiverAutoSusp = SPI_MASTER_RX_AUTOSUSP_DISABLE;
  hspi3.Init.MasterKeepIOState = SPI_MASTER_KEEP_IO_STATE_DISABLE;
  hspi3.Init.IOSwap = SPI_IO_SWAP_DISABLE;
  if (HAL_SPI_Init(&hspi3) != HAL_OK)
  {
    Error_Handler();
  }

}

static void MX_TIM1_Init(void)
{

  TIM_ClockConfigTypeDef sClockSourceConfig = {0};
  TIM_MasterConfigTypeDef sMasterConfig = {0};
  TIM_OC_InitTypeDef sConfigOC = {0};
  TIM_BreakDeadTimeConfigTypeDef sBreakDeadTimeConfig = {0};

  htim1.Instance = TIM1;
  htim1.Init.Prescaler = 0;
  htim1.Init.CounterMode = TIM_COUNTERMODE_UP;
  htim1.Init.Period = 11999;
  htim1.Init.ClockDivision = TIM_CLOCKDIVISION_DIV1;
  htim1.Init.RepetitionCounter = 0;
  htim1.Init.AutoReloadPreload = TIM_AUTORELOAD_PRELOAD_DISABLE;
  if (HAL_TIM_Base_Init(&htim1) != HAL_OK)
  {
    Error_Handler();
  }
  sClockSourceConfig.ClockSource = TIM_CLOCKSOURCE_INTERNAL;
  if (HAL_TIM_ConfigClockSource(&htim1, &sClockSourceConfig) != HAL_OK)
  {
    Error_Handler();
  }
  if (HAL_TIM_PWM_Init(&htim1) != HAL_OK)
  {
    Error_Handler();
  }
  sMasterConfig.MasterOutputTrigger = TIM_TRGO_RESET;
  sMasterConfig.MasterOutputTrigger2 = TIM_TRGO2_RESET;
  sMasterConfig.MasterSlaveMode = TIM_MASTERSLAVEMODE_DISABLE;
  if (HAL_TIMEx_MasterConfigSynchronization(&htim1, &sMasterConfig) != HAL_OK)
  {
    Error_Handler();
  }
  sConfigOC.OCMode = TIM_OCMODE_PWM1;
  sConfigOC.Pulse = 0;
  sConfigOC.OCPolarity = TIM_OCPOLARITY_HIGH;
  sConfigOC.OCNPolarity = TIM_OCNPOLARITY_HIGH;
  sConfigOC.OCFastMode = TIM_OCFAST_DISABLE;
  sConfigOC.OCIdleState = TIM_OCIDLESTATE_RESET;
  sConfigOC.OCNIdleState = TIM_OCNIDLESTATE_RESET;
  if (HAL_TIM_PWM_ConfigChannel(&htim1, &sConfigOC, TIM_CHANNEL_1) != HAL_OK)
  {
    Error_Handler();
  }
  if (HAL_TIM_PWM_ConfigChannel(&htim1, &sConfigOC, TIM_CHANNEL_2) != HAL_OK)
  {
    Error_Handler();
  }
  if (HAL_TIM_PWM_ConfigChannel(&htim1, &sConfigOC, TIM_CHANNEL_3) != HAL_OK)
  {
    Error_Handler();
  }
  sBreakDeadTimeConfig.OffStateRunMode = TIM_OSSR_DISABLE;
  sBreakDeadTimeConfig.OffStateIDLEMode = TIM_OSSI_DISABLE;
  sBreakDeadTimeConfig.LockLevel = TIM_LOCKLEVEL_OFF;
  sBreakDeadTimeConfig.DeadTime = 80;
  sBreakDeadTimeConfig.BreakState = TIM_BREAK_DISABLE;
  sBreakDeadTimeConfig.BreakPolarity = TIM_BREAKPOLARITY_HIGH;
  sBreakDeadTimeConfig.BreakFilter = 0;
  sBreakDeadTimeConfig.Break2State = TIM_BREAK2_DISABLE;
  sBreakDeadTimeConfig.Break2Polarity = TIM_BREAK2POLARITY_HIGH;
  sBreakDeadTimeConfig.Break2Filter = 0;
  sBreakDeadTimeConfig.AutomaticOutput = TIM_AUTOMATICOUTPUT_DISABLE;
  if (HAL_TIMEx_ConfigBreakDeadTime(&htim1, &sBreakDeadTimeConfig) != HAL_OK)
  {
    Error_Handler();
  }
  HAL_TIM_MspPostInit(&htim1);

}

static void MX_TIM2_Init(void)
{

  TIM_ClockConfigTypeDef sClockSourceConfig = {0};
  TIM_MasterConfigTypeDef sMasterConfig = {0};

  htim2.Instance = TIM2;
  htim2.Init.Prescaler = 240;
  htim2.Init.CounterMode = TIM_COUNTERMODE_UP;
  htim2.Init.Period = 500000;
  htim2.Init.ClockDivision = TIM_CLOCKDIVISION_DIV1;
  htim2.Init.AutoReloadPreload = TIM_AUTORELOAD_PRELOAD_DISABLE;
  if (HAL_TIM_Base_Init(&htim2) != HAL_OK)
  {
    Error_Handler();
  }
  sClockSourceConfig.ClockSource = TIM_CLOCKSOURCE_INTERNAL;
  if (HAL_TIM_ConfigClockSource(&htim2, &sClockSourceConfig) != HAL_OK)
  {
    Error_Handler();
  }
  sMasterConfig.MasterOutputTrigger = TIM_TRGO_RESET;
  sMasterConfig.MasterSlaveMode = TIM_MASTERSLAVEMODE_DISABLE;
  if (HAL_TIMEx_MasterConfigSynchronization(&htim2, &sMasterConfig) != HAL_OK)
  {
    Error_Handler();
  }

}

static void MX_TIM3_Init(void)
{

  TIM_ClockConfigTypeDef sClockSourceConfig = {0};
  TIM_MasterConfigTypeDef sMasterConfig = {0};

  htim3.Instance = TIM3;
  htim3.Init.Prescaler = 0;
  htim3.Init.CounterMode = TIM_COUNTERMODE_UP;
  htim3.Init.Period = 11999;
  htim3.Init.ClockDivision = TIM_CLOCKDIVISION_DIV1;
  htim3.Init.AutoReloadPreload = TIM_AUTORELOAD_PRELOAD_DISABLE;
  if (HAL_TIM_Base_Init(&htim3) != HAL_OK)
  {
    Error_Handler();
  }
  sClockSourceConfig.ClockSource = TIM_CLOCKSOURCE_INTERNAL;
  if (HAL_TIM_ConfigClockSource(&htim3, &sClockSourceConfig) != HAL_OK)
  {
    Error_Handler();
  }
  sMasterConfig.MasterOutputTrigger = TIM_TRGO_RESET;
  sMasterConfig.MasterSlaveMode = TIM_MASTERSLAVEMODE_DISABLE;
  if (HAL_TIMEx_MasterConfigSynchronization(&htim3, &sMasterConfig) != HAL_OK)
  {
    Error_Handler();
  }

}

static void MX_USART1_UART_Init(void)
{

  huart1.Instance = USART1;
  huart1.Init.BaudRate = 115200;
  huart1.Init.WordLength = UART_WORDLENGTH_8B;
  huart1.Init.StopBits = UART_STOPBITS_1;
  huart1.Init.Parity = UART_PARITY_NONE;
  huart1.Init.Mode = UART_MODE_TX_RX;
  huart1.Init.HwFlowCtl = UART_HWCONTROL_NONE;
  huart1.Init.OverSampling = UART_OVERSAMPLING_16;
  huart1.Init.OneBitSampling = UART_ONE_BIT_SAMPLE_DISABLE;
  huart1.Init.ClockPrescaler = UART_PRESCALER_DIV1;
  huart1.AdvancedInit.AdvFeatureInit = UART_ADVFEATURE_NO_INIT;
  if (HAL_UART_Init(&huart1) != HAL_OK)
  {
    Error_Handler();
  }
  if (HAL_UARTEx_SetTxFifoThreshold(&huart1, UART_TXFIFO_THRESHOLD_1_8) != HAL_OK)
  {
    Error_Handler();
  }
  if (HAL_UARTEx_SetRxFifoThreshold(&huart1, UART_RXFIFO_THRESHOLD_1_8) != HAL_OK)
  {
    Error_Handler();
  }
  if (HAL_UARTEx_DisableFifoMode(&huart1) != HAL_OK)
  {
    Error_Handler();
  }

}

static void MX_GPIO_Init(void)
{
  GPIO_InitTypeDef GPIO_InitStruct = {0};

  /* GPIO Ports Clock Enable */
  __HAL_RCC_GPIOC_CLK_ENABLE();
  __HAL_RCC_GPIOH_CLK_ENABLE();
  __HAL_RCC_GPIOA_CLK_ENABLE();
  __HAL_RCC_GPIOB_CLK_ENABLE();
  __HAL_RCC_GPIOE_CLK_ENABLE();
  __HAL_RCC_GPIOD_CLK_ENABLE();

  /*Configure GPIO pin Output Level */
  HAL_GPIO_WritePin(GPIOC, GPIO_PIN_13|GPIO_PIN_14|GPIO_PIN_15, GPIO_PIN_RESET);

  /*Configure GPIO pin Output Level */
  HAL_GPIO_WritePin(GPIOB, GPIO_PIN_7, GPIO_PIN_RESET);

  /*Configure GPIO pins : PC13 PC14 PC15 */
  GPIO_InitStruct.Pin = GPIO_PIN_13|GPIO_PIN_14|GPIO_PIN_15;
  GPIO_InitStruct.Mode = GPIO_MODE_OUTPUT_PP;
  GPIO_InitStruct.Pull = GPIO_NOPULL;
  GPIO_InitStruct.Speed = GPIO_SPEED_FREQ_LOW;
  HAL_GPIO_Init(GPIOC, &GPIO_InitStruct);

  /*Configure GPIO pins : PA0 PA1 PA2 PA3 */
  GPIO_InitStruct.Pin = GPIO_PIN_0|GPIO_PIN_1|GPIO_PIN_2|GPIO_PIN_3;
  GPIO_InitStruct.Mode = GPIO_MODE_INPUT;
  GPIO_InitStruct.Pull = GPIO_NOPULL;
  HAL_GPIO_Init(GPIOA, &GPIO_InitStruct);

  /*Configure GPIO pin : PD0 */
  GPIO_InitStruct.Pin = GPIO_PIN_0;
  GPIO_InitStruct.Mode = GPIO_MODE_INPUT;
  GPIO_InitStruct.Pull = GPIO_NOPULL;
  HAL_GPIO_Init(GPIOD, &GPIO_InitStruct);

  /*Configure GPIO pin : PB6 */
  GPIO_InitStruct.Pin = GPIO_PIN_6;
  GPIO_InitStruct.Mode = GPIO_MODE_INPUT;
  GPIO_InitStruct.Pull = GPIO_PULLUP;
  HAL_GPIO_Init(GPIOB, &GPIO_InitStruct);

  /*Configure GPIO pin : PB7 */
  GPIO_InitStruct.Pin = GPIO_PIN_7;
  GPIO_InitStruct.Mode = GPIO_MODE_OUTPUT_PP;
  GPIO_InitStruct.Pull = GPIO_NOPULL;
  GPIO_InitStruct.Speed = GPIO_SPEED_FREQ_LOW;
  HAL_GPIO_Init(GPIOB, &GPIO_InitStruct);

}

/* USER CODE BEGIN 4 */
int set_pmw(int a, int b, int c) {
	TIM1->CCER = 0b0000010101010101;
	TIM1->CCR1 = a;
	TIM1->CCR2 = b;
	TIM1->CCR3 = c;
	return (1);
}
int mech_to_electric_angle(int mechangle) {
//		int foc_angle = (mechangle + FOC_OFFSET);//convert to deci degrees and remove offset
//		foc_angle = 3600-(foc_angle % 900) * 4;//convert to electrical degrees by x4 and mod to 360 degrees
//		angle_adjusted = ((int) (angle + 357)) % 90;
//	int foc_angle = (mechangle + 690) % 900 * 4;		//OG:649//BEST:670
//	int foc_angle = (mechangle + 880) % 900 * 4;	//Best in practice and
//	int foc_angle = (mechangle + 870) % 900 * 4;	//theory
	int foc_angle = (360-mechangle+70) % 90 * 4;
//	int foc_angle = (360-mechangle+2) % 90 * 4;
	return (foc_angle);

}
/* USER CODE END 4 */

void Error_Handler(void)
{
}

/************************ (C) COPYRIGHT STMicroelectronics *****END OF FILE****/
